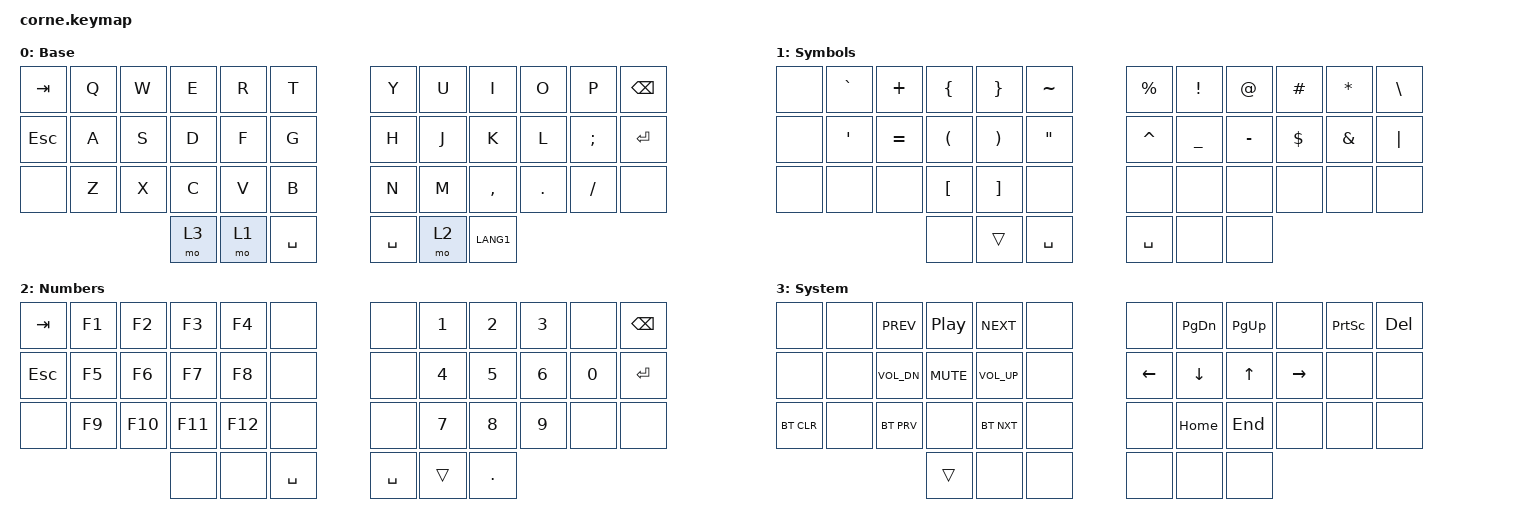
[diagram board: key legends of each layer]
#include <behaviors.dtsi>
#include <dt-bindings/zmk/keys.h>
#include <dt-bindings/zmk/bt.h>

#define ___ &none

/ {
    keymap {
        compatible = "zmk,keymap";
        default_layer {
// ------------------------------------------------------------------------------
// | TAB |  Q  |  W  |  E  |  R  |  T  |   |  Y  |  U  |  I  |  O  |  P  | BKS |
// | ESC |  A  |  S  |  D  |  F  |  G  |   |  H  |  J  |  K  |  L  |  ;  | RET |
// | nop |  Z  |  X  |  C  |  V  |  B  |   |  N  |  M  |  ,  |  .  |  /  | nop |
//                   | SYS | SYM | SPC |   | SPC | NUM | KOR |
            display-name = "Base";
            bindings = <
    &kp TAB   &kp Q     &kp W     &kp E     &kp R     &kp T     &kp Y     &kp U     &kp I     &kp O     &kp P     &kp BSPC
    &kp ESC   &kp A     &kp S     &kp D     &kp F     &kp G     &kp H     &kp J     &kp K     &kp L     &kp SEMI  &kp RET
    ___       &kp Z     &kp X     &kp C     &kp V     &kp B     &kp N     &kp M     &kp COMMA &kp DOT   &kp FSLH  ___
                                  &mo 3     &mo 1     &kp SPACE &kp SPACE &mo 2     &kp LANG1
            >;
        };

        symbol_layer {
// ------------------------------------------------------------------------------
// | nop |  `  |  +  |  {  |  }  |  ~  |   |  %  |  !  |  @  |  #  |  *  |  \  |
// | nop |  '  |  =  |  (  |  )  |  "  |   |  ^  |  _  |  -  |  $  |  &  |  |  |
// | nop | nop | nop |  [  |  ]  | nop |   | nop | nop | nop | nop | nop | nop |
//                   | nop |     | SPC |   | SPC | nop | nop |
            display-name = "Symbols";
            bindings = <
    ___       &kp GRAVE &kp PLUS  &kp LBRC  &kp RBRC  &kp TILDE &kp PRCNT &kp EXCL  &kp AT    &kp HASH  &kp STAR  &kp BSLH
    ___       &kp SQT   &kp EQUAL &kp LPAR  &kp RPAR  &kp DQT   &kp CARET &kp UNDER &kp MINUS &kp DLLR  &kp AMPS  &kp PIPE
    ___       ___       ___       &kp LBKT  &kp RBKT  ___       ___       ___       ___       ___       ___       ___
                                  ___       &trans    &kp SPACE &kp SPACE ___       ___
            >;
        };

        nums_layer {
// ------------------------------------------------------------------------------
// | TAB |  F1 |  F2 |  F3 |  F4 | nop |   | nop |  1  |  2  |  3  | nop | BKS |
// | ESC |  F5 |  F6 |  F7 |  F8 | nop |   | nop |  4  |  5  |  6  |  0  | RET |
// | nop |  F9 | F10 | F11 | F12 | nop |   | nop |  7  |  8  |  9  | nop | nop |
//                   | nop | nop | SPC |   | SPC |     |  .  |
            display-name = "Numbers";
            bindings = <
    &kp TAB   &kp F1    &kp F2    &kp F3    &kp F4    ___       ___       &kp N1    &kp N2    &kp N3    ___       &kp BSPC
    &kp ESC   &kp F5    &kp F6    &kp F7    &kp F8    ___       ___       &kp N4    &kp N5    &kp N6    &kp N0    &kp RET
    ___       &kp F9    &kp F10   &kp F11   &kp F12   ___       ___       &kp N7    &kp N8    &kp N9    ___       ___
                                  ___       ___       &kp SPACE &kp SPACE &trans    &kp DOT
            >;
        };

        system_layer {
// ------------------------------------------------------------------------------
// | nop | nop | PRV | PLY | NXT | nop |   | nop | PDN | PDN | nop | PSC | nop |
// | nop | nop | VL- | MUT | VL+ | nop |   | LFT | DWN |  UP | RGT | nop | nop |
// | BTC | nop | BTP | nop | BTN | nop |   | nop | HOM | END | nop | nop | nop |
//                   |     | nop | nop |   | nop | nop | nop |
            display-name = "System";
            bindings = <
    ___        ___       &kp C_PREV   &kp C_PP   &kp C_NEXT   ___        ___       &kp PG_DN &kp PG_UP  ___       &kp PSCRN &kp DEL
    ___        ___       &kp C_VOL_DN &kp C_MUTE &kp C_VOL_UP ___        &kp LEFT  &kp DOWN  &kp UP     &kp RIGHT ___       ___
    &bt BT_CLR ___       &bt BT_PRV   ___        &bt BT_NXT   ___        ___       &kp HOME  &kp END    ___       ___       ___
                                      &trans      ___          ___        ___       ___       ___
            >;
        };

        unused_1 {
            status = "reserved";
        };

        unused_2 {
            status = "reserved";
        };
    };

// Key Positions
// ------------------------------------------------------------------------------
// |  0  |  1  |  2  |  3  |  4  |  5  |   |  6  |  7  |  8  |  9  |  10 |  11 |
// |  12 |  13 |  14 |  15 |  16 |  17 |   |  18 |  19 |  20 |  21 |  22 |  23 |
// |  24 |  25 |  26 |  27 |  28 |  29 |   |  30 |  31 |  32 |  33 |  34 |  35 |
//                   |  36 |  37 |  38 |   |  39 |  40 |  41 |
    combos {
        compatible = "zmk,combos";

        // Toggle number layer
        combo_tog_nums {
            timeout-ms = <50>;
            key-positions = <37 40>;
            bindings = <&tog 2>;
        };

        // Caps Word
        combo_capsword {
            timeout-ms = <50>;
            key-positions = <15 20>;
            bindings = <&caps_word>;
        };

        // Caps Lock
        combo_capslock {
            timeout-ms = <50>;
            key-positions = <17 18>;
            bindings = <&kp CAPSLOCK>;
        };

        // Shift
        combo_lshift {
            timeout-ms = <50>;
            key-positions = <15 16>;
            bindings = <&kp LSHFT>;
        };

        combo_rshift {
            timeout-ms = <50>;
            key-positions = <19 20>;
            bindings = <&kp LSHFT>;
        };

        // Ctrl
        combo_lctrl {
            timeout-ms = <50>;
            key-positions = <14 16>;
            bindings = <&kp LCTRL>;
        };

        combo_rctrl {
            timeout-ms = <50>;
            key-positions = <19 21>;
            bindings = <&kp LCTRL>;
        };

        // Alt
        combo_lalt {
            timeout-ms = <50>;
            key-positions = <13 16>;
            bindings = <&kp LALT>;
        };

        combo_ralt {
            timeout-ms = <50>;
            key-positions = <19 22>;
            bindings = <&kp LALT>;
        };

        // Meta
        combo_lmeta {
            timeout-ms = <50>;
            key-positions = <12 16>;
            bindings = <&kp LMETA>;
        };

        combo_rmeta {
            timeout-ms = <50>;
            key-positions = <19 23>;
            bindings = <&kp LMETA>;
        };

        // Ctrl + Shift
        combo_lctrlshift {
            timeout-ms = <50>;
            key-positions = <14 15>;
            bindings = <&kp LC(LSHFT)>;
        };

        combo_rctrlshift {
            timeout-ms = <50>;
            key-positions = <20 21>;
            bindings = <&kp LC(LSHFT)>;
        };

        // Alt + Shift
        combo_laltshift {
            timeout-ms = <50>;
            key-positions = <13 15>;
            bindings = <&kp LA(LSHFT)>;
        };

        combo_raltshift {
            timeout-ms = <50>;
            key-positions = <20 22>;
            bindings = <&kp LA(LSHFT)>;
        };

        // Ctrl + Alt
        combo_lctrlalt {
            timeout-ms = <50>;
            key-positions = <13 14>;
            bindings = <&kp LC(LALT)>;
        };

        combo_rctrlalt {
            timeout-ms = <50>;
            key-positions = <21 22>;
            bindings = <&kp LC(LALT)>;
        };
    };
};
